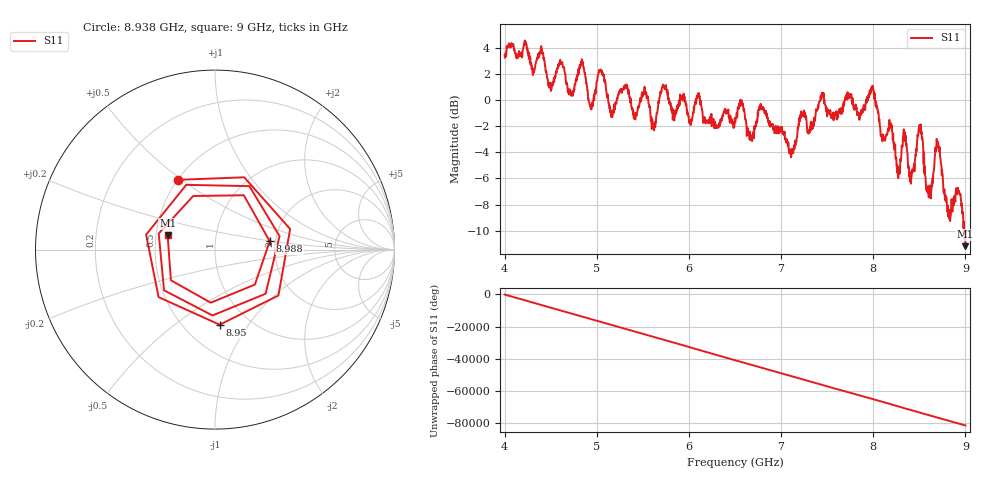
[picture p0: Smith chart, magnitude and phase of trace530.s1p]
! Created with skrf 1.8.0 (http://scikit-rf.org).
# Hz S RI R 50.0
!freq ReS11 ImS11
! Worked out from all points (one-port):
!   1601 points, 4 GHz to 9 GHz, reference 50 ohm
!   lowest |S11| = -11.2 dB at 9 GHz (marker M1), VSWR 1.76, Z = 28.8 + j4.99 ohm
!   |S11| at or under -10 dB: 8.987052 GHz to end of sweep
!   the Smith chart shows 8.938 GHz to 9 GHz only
!   S11 on the Smith chart (normalised r, x): 8.938 GHz: 0.50, +0.49; 8.95 GHz: 0.73, -0.74; 8.988 GHz: 1.86, +0.19; 9 GHz: 0.58, +0.10
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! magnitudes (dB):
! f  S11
! 4 GHz  3.4
! 4.5 GHz  1.1
! 4.625 GHz  2.9
! 4.719 GHz  0.7
! 4.841 GHz  2.9
! 4.934 GHz  -0.6
! 5.034 GHz  2.3
! 5.162 GHz  -1.1
! 5.25 GHz  0.7
! 5.875 GHz  -0.4
! 6.5 GHz  -1.6
! 6.681 GHz  -3.0
! 6.791 GHz  -0.5
! 7.125 GHz  -3.9
! 7.231 GHz  -1.0
! 7.75 GHz  0.4
! 7.991 GHz  0.9
! 8.266 GHz  -5.1
! 8.375 GHz  -4.7
! 8.425 GHz  -5.5
! 8.506 GHz  -2.1
! 8.6 GHz  -7.2
! 8.697 GHz  -3.3
! 8.819 GHz  -8.5
! 8.938 GHz  -7.2
! 8.95 GHz  -7.5
! 8.988 GHz  -10.2
! 9 GHz  -11.2
